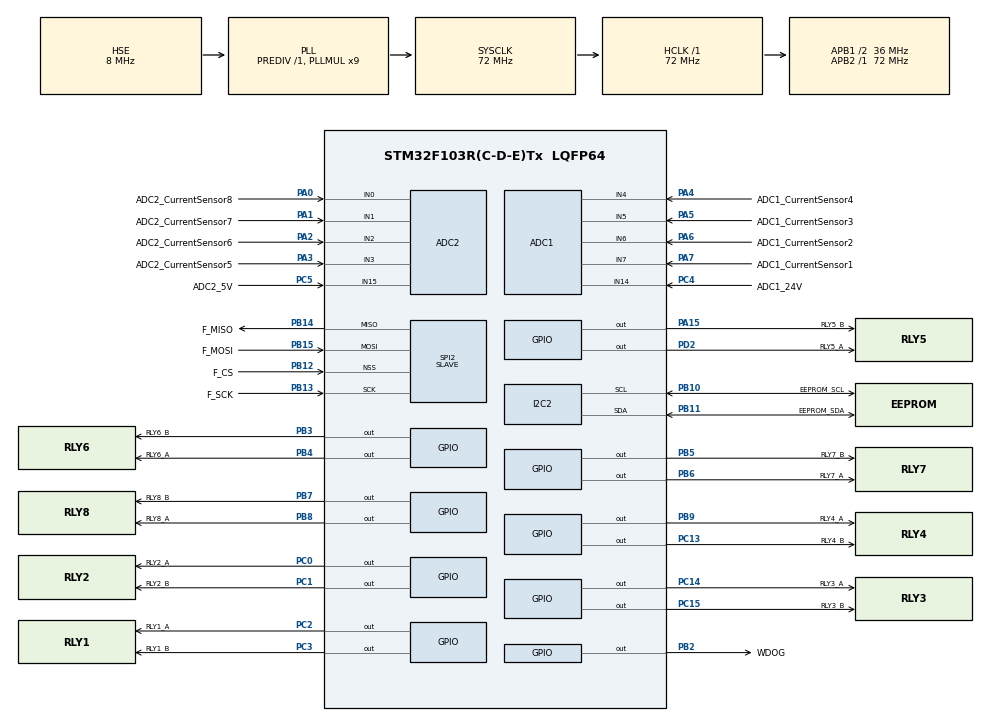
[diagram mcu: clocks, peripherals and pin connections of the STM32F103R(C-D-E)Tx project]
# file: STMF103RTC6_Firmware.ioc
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ADC1.Channel-1\#ChannelRegularConversion=ADC_CHANNEL_4
ADC1.Channel-2\#ChannelRegularConversion=ADC_CHANNEL_5
ADC1.Channel-3\#ChannelRegularConversion=ADC_CHANNEL_6
ADC1.Channel-4\#ChannelRegularConversion=ADC_CHANNEL_7
ADC1.Channel-5\#ChannelRegularConversion=ADC_CHANNEL_14
ADC1.ContinuousConvMode=DISABLE
ADC1.EnableAnalogWatchDog=false
ADC1.EnableRegularConversion=ENABLE
ADC1.ExternalTrigConv=ADC_EXTERNALTRIGCONV_T3_TRGO
ADC1.Mode=ADC_DUALMODE_REGSIMULT
ADC1.NbrOfConversion=5
ADC1.NbrOfConversionFlag=1
ADC1.Rank-1\#ChannelRegularConversion=1
ADC1.Rank-2\#ChannelRegularConversion=2
ADC1.Rank-3\#ChannelRegularConversion=3
ADC1.Rank-4\#ChannelRegularConversion=4
ADC1.Rank-5\#ChannelRegularConversion=5
ADC1.SamplingTime-1\#ChannelRegularConversion=ADC_SAMPLETIME_55CYCLES_5
ADC1.SamplingTime-2\#ChannelRegularConversion=ADC_SAMPLETIME_55CYCLES_5
ADC1.SamplingTime-3\#ChannelRegularConversion=ADC_SAMPLETIME_55CYCLES_5
ADC1.SamplingTime-4\#ChannelRegularConversion=ADC_SAMPLETIME_55CYCLES_5
ADC1.SamplingTime-5\#ChannelRegularConversion=ADC_SAMPLETIME_239CYCLES_5
ADC1.master=1
ADC2.Channel-1\#ChannelRegularConversion=ADC_CHANNEL_0
ADC2.Channel-2\#ChannelRegularConversion=ADC_CHANNEL_1
ADC2.Channel-3\#ChannelRegularConversion=ADC_CHANNEL_2
ADC2.Channel-4\#ChannelRegularConversion=ADC_CHANNEL_3
ADC2.Channel-5\#ChannelRegularConversion=ADC_CHANNEL_15
ADC2.Mode=ADC_DUALMODE_REGSIMULT
ADC2.NbrOfConversion=5
ADC2.NbrOfConversionFlag=1
ADC2.Rank-1\#ChannelRegularConversion=1
ADC2.Rank-2\#ChannelRegularConversion=2
ADC2.Rank-3\#ChannelRegularConversion=3
ADC2.Rank-4\#ChannelRegularConversion=4
ADC2.Rank-5\#ChannelRegularConversion=5
ADC2.SamplingTime-1\#ChannelRegularConversion=ADC_SAMPLETIME_55CYCLES_5
ADC2.SamplingTime-2\#ChannelRegularConversion=ADC_SAMPLETIME_55CYCLES_5
ADC2.SamplingTime-3\#ChannelRegularConversion=ADC_SAMPLETIME_55CYCLES_5
ADC2.SamplingTime-4\#ChannelRegularConversion=ADC_SAMPLETIME_55CYCLES_5
ADC2.SamplingTime-5\#ChannelRegularConversion=ADC_SAMPLETIME_239CYCLES_5
Dma.ADC1.0.Direction=DMA_PERIPH_TO_MEMORY
Dma.ADC1.0.Instance=DMA1_Channel1
Dma.ADC1.0.MemDataAlignment=DMA_MDATAALIGN_WORD
Dma.ADC1.0.MemInc=DMA_MINC_ENABLE
Dma.ADC1.0.Mode=DMA_CIRCULAR
Dma.ADC1.0.PeriphDataAlignment=DMA_PDATAALIGN_WORD
Dma.ADC1.0.PeriphInc=DMA_PINC_DISABLE
Dma.ADC1.0.Priority=DMA_PRIORITY_LOW
Dma.Request0=ADC1
Dma.Request1=SPI2_RX
Dma.Request2=SPI2_TX
Dma.SPI2_RX.1.Direction=DMA_PERIPH_TO_MEMORY
Dma.SPI2_RX.1.Instance=DMA1_Channel4
Dma.SPI2_RX.1.MemDataAlignment=DMA_MDATAALIGN_BYTE
Dma.SPI2_RX.1.MemInc=DMA_MINC_ENABLE
Dma.SPI2_RX.1.Mode=DMA_NORMAL
Dma.SPI2_RX.1.PeriphDataAlignment=DMA_PDATAALIGN_BYTE
Dma.SPI2_RX.1.PeriphInc=DMA_PINC_DISABLE
Dma.SPI2_RX.1.Priority=DMA_PRIORITY_VERY_HIGH
Dma.SPI2_TX.2.Direction=DMA_MEMORY_TO_PERIPH
Dma.SPI2_TX.2.Instance=DMA1_Channel5
Dma.SPI2_TX.2.MemDataAlignment=DMA_MDATAALIGN_BYTE
Dma.SPI2_TX.2.MemInc=DMA_MINC_ENABLE
Dma.SPI2_TX.2.Mode=DMA_NORMAL
Dma.SPI2_TX.2.PeriphDataAlignment=DMA_PDATAALIGN_BYTE
Dma.SPI2_TX.2.PeriphInc=DMA_PINC_DISABLE
Dma.SPI2_TX.2.Priority=DMA_PRIORITY_HIGH
FREERTOS.Queues01=relay_cmd_q,8,relay_cmd_t,0,Dynamic,NULL,NULL;event_q,8,link_event_t,0,Dynamic,NULL,NULL
FREERTOS.Tasks01=LinkTask,40,256,StartLinkTask,Default,NULL,Dynamic,NULL,NULL
FREERTOS.configCHECK_FOR_STACK_OVERFLOW=2
FREERTOS.configTIMER_TASK_PRIORITY=23
FREERTOS.configTOTAL_HEAP_SIZE=15360
FREERTOS.configUSE_NEWLIB_REENTRANT=1
Mcu.Family=STM32F1
Mcu.Name=STM32F103R(C-D-E)Tx
Mcu.Package=LQFP64
NVIC.DMA1_Channel1_IRQn=true\:5\:0\:false\:false\:true\:true\:false\:true\:true
NVIC.DMA1_Channel4_IRQn=true\:5\:0\:false\:false\:true\:true\:false\:true\:true
NVIC.DMA1_Channel5_IRQn=true\:5\:0\:false\:false\:true\:true\:false\:true\:true
NVIC.PriorityGroup=NVIC_PRIORITYGROUP_4
NVIC.SPI2_IRQn=true\:5\:0\:false\:false\:true\:true\:true\:true\:true
NVIC.TIM6_IRQn=true\:0\:0\:true\:false\:true\:false\:false\:true\:true
NVIC.TimeBase=TIM6_IRQn
NVIC.TimeBaseIP=TIM6
PA0-WKUP.GPIO_Label=ADC2_CurrentSensor8
PA0-WKUP.Signal=ADCx_IN0
PA1.GPIO_Label=ADC2_CurrentSensor7
PA1.Signal=ADCx_IN1
PA13.GPIO_Label=SWDIO
PA13.Mode=Serial_Wire
PA13.Signal=SYS_JTMS-SWDIO
PA14.GPIO_Label=SWCLK
PA14.Mode=Serial_Wire
PA14.Signal=SYS_JTCK-SWCLK
PA15.GPIO_Label=RLY5_B
PA15.Signal=GPIO_Output
PA2.GPIO_Label=ADC2_CurrentSensor6
PA2.Signal=ADCx_IN2
PA3.GPIO_Label=ADC2_CurrentSensor5
PA3.Signal=ADCx_IN3
PA4.GPIO_Label=ADC1_CurrentSensor4
PA4.Signal=ADCx_IN4
PA5.GPIO_Label=ADC1_CurrentSensor3
PA5.Signal=ADCx_IN5
PA6.GPIO_Label=ADC1_CurrentSensor2
PA6.Signal=ADCx_IN6
PA7.GPIO_Label=ADC1_CurrentSensor1
PA7.Signal=ADCx_IN7
PB10.GPIO_Label=EEPROM_SCL
PB10.Mode=I2C
PB10.Signal=I2C2_SCL
PB11.GPIO_Label=EEPROM_SDA
PB11.Mode=I2C
PB11.Signal=I2C2_SDA
PB12.GPIO_Label=F_CS
PB12.GPIO_PuPd=GPIO_PULLUP
PB12.Mode=NSS_Signal_Hard_Input
PB12.Signal=SPI2_NSS
PB13.GPIO_Label=F_SCK
PB13.Mode=Full_Duplex_Slave
PB13.Signal=SPI2_SCK
PB14.GPIO_Label=F_MISO
PB14.Mode=Full_Duplex_Slave
PB14.Signal=SPI2_MISO
PB15.GPIO_Label=F_MOSI
PB15.Mode=Full_Duplex_Slave
PB15.Signal=SPI2_MOSI
PB2.GPIO_Label=WDOG
PB2.Signal=GPIO_Output
PB3.GPIO_Label=RLY6_B
PB3.Signal=GPIO_Output
PB4.GPIO_Label=RLY6_A
PB4.Signal=GPIO_Output
PB5.GPIO_Label=RLY7_B
PB5.Signal=GPIO_Output
PB6.GPIO_Label=RLY7_A
PB6.Signal=GPIO_Output
PB7.GPIO_Label=RLY8_B
PB7.Signal=GPIO_Output
PB8.GPIO_Label=RLY8_A
PB8.Signal=GPIO_Output
PB9.GPIO_Label=RLY4_A
PB9.Signal=GPIO_Output
PC0.GPIO_Label=RLY2_A
PC0.Signal=GPIO_Output
PC1.GPIO_Label=RLY2_B
PC1.Signal=GPIO_Output
PC13-TAMPER-RTC.GPIO_Label=RLY4_B
PC13-TAMPER-RTC.Signal=GPIO_Output
PC14-OSC32_IN.GPIO_Label=RLY3_A
PC14-OSC32_IN.Signal=GPIO_Output
PC15-OSC32_OUT.GPIO_Label=RLY3_B
PC15-OSC32_OUT.Signal=GPIO_Output
PC2.GPIO_Label=RLY1_A
PC2.Signal=GPIO_Output
PC3.GPIO_Label=RLY1_B
PC3.Signal=GPIO_Output
PC4.GPIO_Label=ADC1_24V
PC4.Signal=ADCx_IN14
PC5.GPIO_Label=ADC2_5V
PC5.Signal=ADCx_IN15
PD0-OSC_IN.GPIO_Label=Xtal-1
PD0-OSC_IN.Mode=HSE-External-Oscillator
PD0-OSC_IN.Signal=RCC_OSC_IN
PD1-OSC_OUT.GPIO_Label=Xtal-2
PD1-OSC_OUT.Mode=HSE-External-Oscillator
PD1-OSC_OUT.Signal=RCC_OSC_OUT
PD2.GPIO_Label=RLY5_A
PD2.Signal=GPIO_Output
ProjectManager.HeapSize=0x200
ProjectManager.StackSize=0x400
ProjectManager.TargetToolchain=STM32CubeIDE
RCC.ADCPresc=RCC_ADCPCLK2_DIV6
RCC.AHBFreq_Value=72000000
RCC.APB1CLKDivider=RCC_HCLK_DIV2
RCC.APB1Freq_Value=36000000
RCC.APB1TimFreq_Value=72000000
RCC.APB2Freq_Value=72000000
RCC.APB2TimFreq_Value=72000000
RCC.HCLKFreq_Value=72000000
RCC.PLLMUL=RCC_PLL_MUL9
RCC.PLLSourceVirtual=RCC_PLLSOURCE_HSE
RCC.SYSCLKFreq_VALUE=72000000
RCC.SYSCLKSource=RCC_SYSCLKSOURCE_PLLCLK
RCC.USBFreq_Value=72000000
SH.ADCx_IN0.0=ADC2_IN0,IN0
SH.ADCx_IN1.0=ADC2_IN1,IN1
SH.ADCx_IN14.0=ADC1_IN14,IN14
SH.ADCx_IN15.0=ADC2_IN15,IN15
SH.ADCx_IN2.0=ADC2_IN2,IN2
SH.ADCx_IN3.0=ADC2_IN3,IN3
SH.ADCx_IN4.0=ADC1_IN4,IN4
SH.ADCx_IN5.0=ADC1_IN5,IN5
SH.ADCx_IN6.0=ADC1_IN6,IN6
SH.ADCx_IN7.0=ADC1_IN7,IN7
SPI2.Direction=SPI_DIRECTION_2LINES
SPI2.Mode=SPI_MODE_SLAVE
SPI2.VirtualNSS=VM_NSSHARD
SPI2.VirtualType=VM_SLAVE
TIM3.Period=124
TIM3.Prescaler=71
TIM3.TIM_MasterOutputTrigger=TIM_TRGO_UPDATE
VP_FREERTOS_VS_CMSIS_V2.Mode=CMSIS_V2
VP_SYS_VS_tim6.Mode=TIM6
VP_TIM3_VS_ClockSourceINT.Mode=Internal
board=custom

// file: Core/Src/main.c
/* USER CODE BEGIN Header */
/**
  ******************************************************************************
  * @file           : main.c for the F103 on the Main ARNIC board
  * @brief          : Main program body
  ******************************************************************************
  * @attention
  *
  * Copyright (c) 2026 STMicroelectronics.
  * All rights reserved.
  *
  * This software is licensed under terms that can be found in the LICENSE file
  * in the root directory of this software component.
  * If no LICENSE file comes with this software, it is provided AS-IS.
  *
  ******************************************************************************
  */
/* USER CODE END Header */
#include "main.h"
#include "cmsis_os.h"
#include "adc.h"
#include "dma.h"
#include "i2c.h"
#include "spi.h"
#include "tim.h"
#include "gpio.h"

/* USER CODE BEGIN Includes */
#include "app_shared.h"
/* USER CODE END Includes */

/* USER CODE BEGIN PV */
app_snapshot_t     g_snap[2];
volatile uint8_t  g_snap_active   = 0u;
volatile uint16_t g_dropped_events = 0u;

/* USER CODE END PV */

void SystemClock_Config(void);
void MX_FREERTOS_Init(void);

/* USER CODE BEGIN 0 */
extern uint32_t g_pfnVectors[];   /* startup file: the application's vector table */
/* USER CODE END 0 */

int main(void)
{

  /* USER CODE BEGIN 1 */
  SCB->VTOR = (uint32_t)g_pfnVectors;   /* 0x08004000: the bootloader sits below */
  /* USER CODE END 1 */

  /* MCU Configuration--------------------------------------------------------*/

  /* Reset of all peripherals, Initializes the Flash interface and the Systick. */
  HAL_Init();

  /* Configure the system clock */
  SystemClock_Config();

  /* Initialize all configured peripherals */
  MX_GPIO_Init();
  MX_DMA_Init();
  MX_ADC1_Init();
  MX_ADC2_Init();
  MX_I2C2_Init();
  MX_SPI2_Init();
  MX_TIM3_Init();

  /* Init scheduler */
  osKernelInitialize();  /* Call init function for freertos objects (in cmsis_os2.c) */
  MX_FREERTOS_Init();

  /* Start scheduler */
  osKernelStart();

  /* We should never get here as control is now taken by the scheduler */

  /* Infinite loop */
  while (1)
  {

  }
}

void SystemClock_Config(void)
{
  RCC_OscInitTypeDef RCC_OscInitStruct = {0};
  RCC_ClkInitTypeDef RCC_ClkInitStruct = {0};
  RCC_PeriphCLKInitTypeDef PeriphClkInit = {0};

  /** Initializes the RCC Oscillators according to the specified parameters
  * in the RCC_OscInitTypeDef structure.
  */
  RCC_OscInitStruct.OscillatorType = RCC_OSCILLATORTYPE_HSE;
  RCC_OscInitStruct.HSEState = RCC_HSE_ON;
  RCC_OscInitStruct.HSEPredivValue = RCC_HSE_PREDIV_DIV1;
  RCC_OscInitStruct.HSIState = RCC_HSI_ON;
  RCC_OscInitStruct.PLL.PLLState = RCC_PLL_ON;
  RCC_OscInitStruct.PLL.PLLSource = RCC_PLLSOURCE_HSE;
  RCC_OscInitStruct.PLL.PLLMUL = RCC_PLL_MUL9;
  if (HAL_RCC_OscConfig(&RCC_OscInitStruct) != HAL_OK)
  {
    Error_Handler();
  }

  /** Initializes the CPU, AHB and APB buses clocks
  */
  RCC_ClkInitStruct.ClockType = RCC_CLOCKTYPE_HCLK|RCC_CLOCKTYPE_SYSCLK
                              |RCC_CLOCKTYPE_PCLK1|RCC_CLOCKTYPE_PCLK2;
  RCC_ClkInitStruct.SYSCLKSource = RCC_SYSCLKSOURCE_PLLCLK;
  RCC_ClkInitStruct.AHBCLKDivider = RCC_SYSCLK_DIV1;
  RCC_ClkInitStruct.APB1CLKDivider = RCC_HCLK_DIV2;
  RCC_ClkInitStruct.APB2CLKDivider = RCC_HCLK_DIV1;

  if (HAL_RCC_ClockConfig(&RCC_ClkInitStruct, FLASH_LATENCY_2) != HAL_OK)
  {
    Error_Handler();
  }
  PeriphClkInit.PeriphClockSelection = RCC_PERIPHCLK_ADC;
  PeriphClkInit.AdcClockSelection = RCC_ADCPCLK2_DIV6;
  if (HAL_RCCEx_PeriphCLKConfig(&PeriphClkInit) != HAL_OK)
  {
    Error_Handler();
  }
}

void HAL_TIM_PeriodElapsedCallback(TIM_HandleTypeDef *htim)
{
  if (htim->Instance == TIM6)
  {
    HAL_IncTick();
  }
}

void Error_Handler(void)
{
  __disable_irq();
  while (1)
  {
  }
}

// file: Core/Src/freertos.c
/* USER CODE BEGIN Header */
/**
  ******************************************************************************
  * File Name          : freertos.c
  * Description        : Code for freertos on the F103 on the main ARNIC Board
  ******************************************************************************
  * @attention
  *
  * Copyright (c) 2026 STMicroelectronics.
  * All rights reserved.
  *
  * This software is licensed under terms that can be found in the LICENSE file
  * in the root directory of this software component.
  * If no LICENSE file comes with this software, it is provided AS-IS.
  *
  ******************************************************************************
  */
/* USER CODE END Header */

#include "FreeRTOS.h"
#include "task.h"
#include "main.h"
#include "cmsis_os.h"

/* USER CODE BEGIN Includes */
#include "app_shared.h"
#include "F10Slave.h"
#include "spi.h"
#include "f103_tasks.h"
/* USER CODE END Includes */

/* USER CODE BEGIN Variables */

osThreadId_t RelayTaskHandle;
static const osThreadAttr_t RelayTask_attributes = {
	.name = "RelayTask",
	.stack_size = 256 * 4,
	.priority = (osPriority_t) osPriorityAboveNormal
};

osThreadId_t MeasureTaskHandle;
static const osThreadAttr_t MeasureTask_attributes = {
	.name = "MeasureTask",
	.stack_size = 384 * 4,
	.priority = (osPriority_t) osPriorityNormal
};

osThreadId_t SupervisorTaskHandle;
static const osThreadAttr_t SupervisorTask_attributes = {
	.name = "SupervisorTask",
	.stack_size = 128 * 4,
	.priority = (osPriority_t) osPriorityHigh,
};

/* USER CODE END Variables */
/* Definitions for LinkTask */
osThreadId_t LinkTaskHandle;
const osThreadAttr_t LinkTask_attributes = {
  .name = "LinkTask",
  .stack_size = 256 * 4,
  .priority = (osPriority_t) osPriorityHigh,
};
/* Definitions for relay_cmd_q */
osMessageQueueId_t relay_cmd_qHandle;
const osMessageQueueAttr_t relay_cmd_q_attributes = {
  .name = "relay_cmd_q"
};
/* Definitions for event_q */
osMessageQueueId_t event_qHandle;
const osMessageQueueAttr_t event_q_attributes = {
  .name = "event_q"
};

void StartLinkTask(void *argument);

void MX_FREERTOS_Init(void); /* (MISRA C 2004 rule 8.1) */

/* Hook prototypes */
void vApplicationStackOverflowHook(xTaskHandle xTask, signed char *pcTaskName);

/* USER CODE BEGIN 4 */
void vApplicationStackOverflowHook(xTaskHandle xTask, signed char *pcTaskName)
{
   /* Run time stack overflow checking is performed if
   configCHECK_FOR_STACK_OVERFLOW is defined to 1 or 2. This hook function is
   called if a stack overflow is detected. */
}
/* USER CODE END 4 */

void MX_FREERTOS_Init(void) {

  /* Create the queue(s) */
  /* creation of relay_cmd_q */
  relay_cmd_qHandle = osMessageQueueNew (8, sizeof(relay_cmd_t), &relay_cmd_q_attributes);

  /* creation of event_q */
  event_qHandle = osMessageQueueNew (8, sizeof(link_event_t), &event_q_attributes);

  /* Create the thread(s) */
  /* creation of LinkTask */
  LinkTaskHandle = osThreadNew(StartLinkTask, NULL, &LinkTask_attributes);

  /* USER CODE BEGIN RTOS_THREADS */
  RelayTaskHandle   = osThreadNew(RelayTask_Run,   NULL, &RelayTask_attributes);
  MeasureTaskHandle = osThreadNew(MeasureTask_Run, NULL, &MeasureTask_attributes);
  SupervisorTaskHandle = osThreadNew(SupervisorTask_Run, NULL, &SupervisorTask_attributes);
  /* add threads, ... */
  /* USER CODE END RTOS_THREADS */

}

void StartLinkTask(void *argument)
{
  /* USER CODE BEGIN StartLinkTask */
	F10Slave_CsExtiInit();
	F10Slave_Init(&hspi2);
  /* Infinite loop */
  for(;;)
  {
	F10Slave_Service();
  }
  /* USER CODE END StartLinkTask */
}
